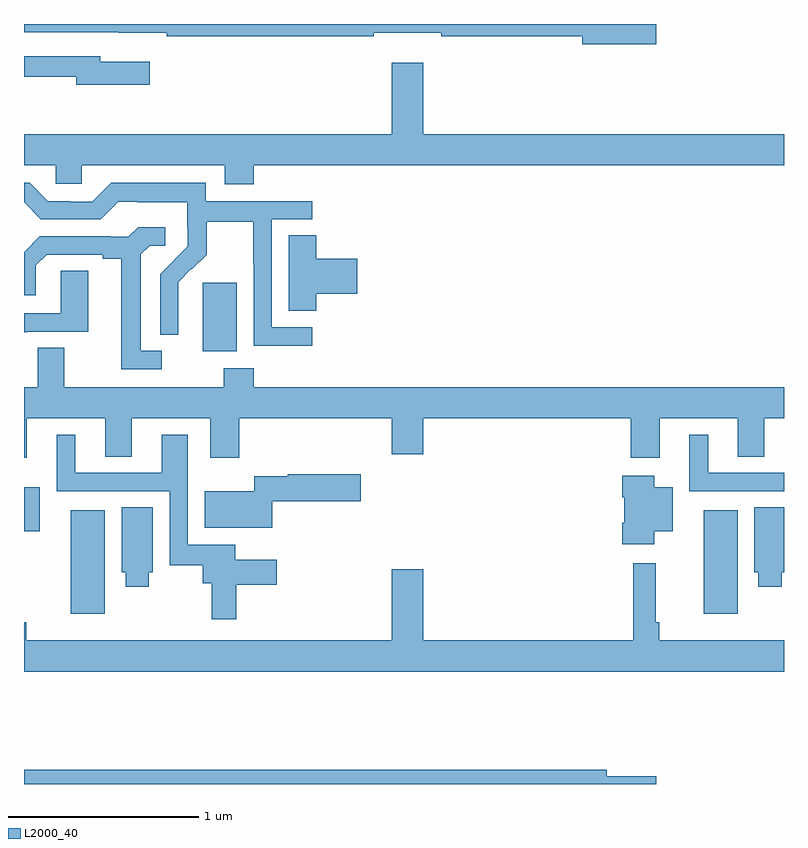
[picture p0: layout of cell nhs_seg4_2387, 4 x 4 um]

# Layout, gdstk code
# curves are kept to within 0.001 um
import gdstk
lib = gdstk.Library(unit=1e-6, precision=1e-09)
def R(c, l, rs):  # rectangles x0, y0, x1, y1
    for r in rs: c.add(gdstk.rectangle(r[:2], r[2:], *l))
def P(c, l, *ps):  # polygons
    for p in ps: c.add(gdstk.Polygon(p, *l))
L2000_40 = (2000, 40)

nhs_seg4_2387 = lib.new_cell('nhs_seg4_2387')
R(nhs_seg4_2387, L2000_40, [(235.247,791.795,235.426,792.34), (238.577,791.795,238.756,792.34), (235,792.23,235.084,792.463), (235.94,793.178,236.119,793.539)])
P(nhs_seg4_2387, L2000_40, [(238.327,794.9),(235,794.9),(235,794.856),(235.498,794.856),(235.498,794.855),(235.75,794.855),(235.75,794.836),(236.84,794.836),(236.84,794.855),(237.196,794.855),(237.196,794.836),(237.938,794.836),(237.938,794.794),(238.327,794.794)],
  [(235.663,794.701),(235.402,794.701),(235.402,794.73),(235,794.73),(235,794.622),(235.274,794.622),(235.274,794.579),(235.663,794.579)],
  [(236.21,794.156),(239,794.156),(239,794.32),(237.1,794.32),(237.1,794.695),(236.936,794.695),(236.936,794.32),(235,794.32),(235,794.156),(235.167,794.156),(235.167,794.058),(235.305,794.058),(235.305,794.156),(236.057,794.156),(236.057,794.057),(236.21,794.057)],
  [(236.518,793.305),(236.304,793.305),(236.304,793.872),(236.518,793.872),(236.518,793.968),(235.956,793.968),(235.956,794.065),(235.459,794.065),(235.359,793.965),(235.244,793.965),(235.244,793.968),(235.125,793.968),(235.029,794.064),(235,794.064),(235,793.961),(235.089,793.872),(235.404,793.872),(235.497,793.965),(235.597,793.965),(235.597,793.961),(235.86,793.961),(235.86,793.827),(235.862,793.827),(235.862,793.73),(235.716,793.582),(235.716,793.264),(235.812,793.264),(235.811,793.541),(235.881,793.611),(235.884,793.608),(235.961,793.685),(235.961,793.86),(236.206,793.86),(236.206,793.636),(236.208,793.636),(236.208,793.207),(236.518,793.207)],
  [(235.726,793.179),(235.615,793.179),(235.615,793.687),(235.662,793.734),(235.744,793.734),(235.744,793.831),(235.6,793.831),(235.548,793.779),(235.454,793.779),(235.454,793.782),(235.082,793.782),(235,793.7),(235,793.473),(235.063,793.473),(235.063,793.629),(235.12,793.686),(235.415,793.686),(235.415,793.664),(235.511,793.664),(235.511,793.083),(235.726,793.083)],
  [(236.537,793.481),(236.755,793.481),(236.755,793.664),(236.537,793.664),(236.537,793.787),(236.393,793.787),(236.393,793.39),(236.537,793.39)],
  [(235.015,793.281),(235.339,793.281),(235.339,793.601),(235.194,793.601),(235.194,793.377),(235,793.377),(235,793.277),(235.015,793.277)],
  [(235.015,792.824),(235.427,792.824),(235.427,792.622),(235.567,792.622),(235.567,792.824),(235.979,792.824),(235.979,792.618),(236.132,792.618),(236.132,792.824),(236.936,792.824),(236.936,792.636),(237.1,792.636),(237.1,792.824),(238.193,792.824),(238.193,792.618),(238.345,792.618),(238.345,792.824),(238.757,792.824),(238.757,792.622),(238.897,792.622),(238.897,792.824),(239,792.824),(239,792.988),(236.21,792.988),(236.21,793.087),(236.05,793.087),(236.05,792.988),(235.213,792.988),(235.213,793.196),(235.073,793.196),(235.073,792.988),(235,792.988),(235,792.618),(235.015,792.618)],
  [(239,792.537),(238.6,792.537),(238.6,792.739),(238.502,792.739),(238.502,792.441),(239,792.441)],
  [(236.117,791.95),(236.329,791.95),(236.329,792.079),(236.111,792.079),(236.111,792.159),(235.863,792.159),(235.863,792.739),(235.724,792.739),(235.724,792.537),(235.27,792.537),(235.27,792.739),(235.172,792.739),(235.172,792.441),(235.767,792.441),(235.767,792.051),(235.94,792.051),(235.94,791.957),(235.989,791.957),(235.989,791.766),(236.117,791.766)],
  [(236.307,792.389),(236.773,792.389),(236.773,792.531),(236.388,792.531),(236.388,792.519),(236.211,792.519),(236.211,792.442),(235.952,792.442),(235.952,792.248),(236.307,792.248)],
  [(238.318,792.23),(238.414,792.23),(238.414,792.463),(238.318,792.463),(238.318,792.523),(238.148,792.523),(238.148,792.41),(238.16,792.41),(238.16,792.274),(238.148,792.274),(238.148,792.162),(238.318,792.162)],
  [(238.987,792.015),(239,792.015),(239,792.356),(238.844,792.356),(238.844,792.015),(238.865,792.015),(238.865,791.939),(238.987,791.939)],
  [(235.657,792.015),(235.678,792.015),(235.678,792.356),(235.514,792.356),(235.514,792.015),(235.535,792.015),(235.535,791.939),(235.657,791.939)],
  [(239,791.656),(238.343,791.656),(238.343,791.752),(238.326,791.752),(238.326,792.061),(238.207,792.061),(238.207,791.656),(237.1,791.656),(237.1,792.031),(236.936,792.031),(236.936,791.656),(235.013,791.656),(235.013,791.752),(235,791.752),(235,791.492),(239,791.492)],
  [(238.327,790.94),(238.066,790.94),(238.066,790.976),(235,790.976),(235,790.9),(238.327,790.9)])

lib.write_gds('nhs_seg4_2387.gds')
